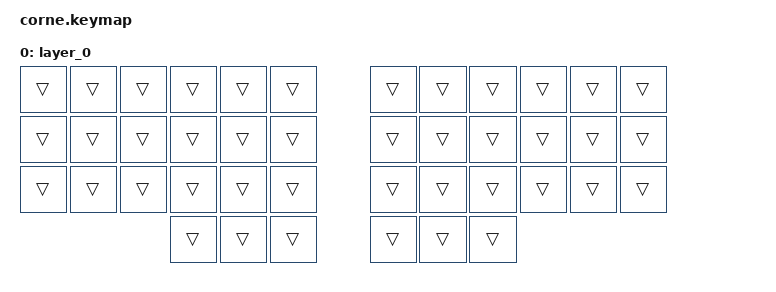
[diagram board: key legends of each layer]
/*
 * Copyright (c) 2020 The ZMK Contributors
 *
 * SPDX-License-Identifier: MIT
 */

#include <behaviors.dtsi>

/ {
    keymap {
        compatible = "zmk,keymap";

        layer_0 {
            bindings = <
&trans  &trans  &trans  &trans  &trans  &trans    &trans  &trans  &trans  &trans  &trans  &trans
&trans  &trans  &trans  &trans  &trans  &trans    &trans  &trans  &trans  &trans  &trans  &trans
&trans  &trans  &trans  &trans  &trans  &trans    &trans  &trans  &trans  &trans  &trans  &trans
                        &trans  &trans  &trans    &trans  &trans  &trans
            >;
        };
    };
};
